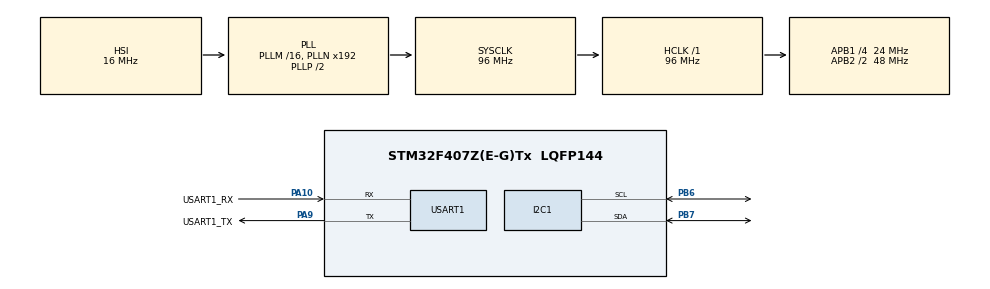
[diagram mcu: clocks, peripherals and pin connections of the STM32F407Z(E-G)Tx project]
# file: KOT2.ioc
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Dma.Request0=USART1_RX
Dma.Request1=USART1_TX
Dma.USART1_RX.0.Direction=DMA_PERIPH_TO_MEMORY
Dma.USART1_RX.0.FIFOMode=DMA_FIFOMODE_DISABLE
Dma.USART1_RX.0.Instance=DMA2_Stream2
Dma.USART1_RX.0.MemDataAlignment=DMA_MDATAALIGN_BYTE
Dma.USART1_RX.0.MemInc=DMA_MINC_ENABLE
Dma.USART1_RX.0.Mode=DMA_NORMAL
Dma.USART1_RX.0.PeriphDataAlignment=DMA_PDATAALIGN_BYTE
Dma.USART1_RX.0.PeriphInc=DMA_PINC_DISABLE
Dma.USART1_RX.0.Priority=DMA_PRIORITY_LOW
Dma.USART1_TX.1.Direction=DMA_MEMORY_TO_PERIPH
Dma.USART1_TX.1.FIFOMode=DMA_FIFOMODE_DISABLE
Dma.USART1_TX.1.Instance=DMA2_Stream7
Dma.USART1_TX.1.MemDataAlignment=DMA_MDATAALIGN_BYTE
Dma.USART1_TX.1.MemInc=DMA_MINC_ENABLE
Dma.USART1_TX.1.Mode=DMA_NORMAL
Dma.USART1_TX.1.PeriphDataAlignment=DMA_PDATAALIGN_BYTE
Dma.USART1_TX.1.PeriphInc=DMA_PINC_DISABLE
Dma.USART1_TX.1.Priority=DMA_PRIORITY_LOW
Mcu.Family=STM32F4
Mcu.Name=STM32F407Z(E-G)Tx
Mcu.Package=LQFP144
NVIC.DMA2_Stream2_IRQn=true\:0\:0\:false\:false\:true\:false\:true\:true
NVIC.DMA2_Stream7_IRQn=true\:0\:0\:false\:false\:true\:false\:true\:true
NVIC.PriorityGroup=NVIC_PRIORITYGROUP_4
NVIC.USART1_IRQn=true\:0\:0\:false\:false\:true\:true\:true\:true
PA10.GPIO_Label=USART1_RX
PA10.GPIO_Speed=GPIO_SPEED_FREQ_HIGH
PA10.Mode=Asynchronous
PA10.Signal=USART1_RX
PA9.GPIO_Label=USART1_TX
PA9.GPIO_Speed=GPIO_SPEED_FREQ_HIGH
PA9.Mode=Asynchronous
PA9.Signal=USART1_TX
PB6.Mode=I2C
PB6.Signal=I2C1_SCL
PB7.Mode=I2C
PB7.Signal=I2C1_SDA
ProjectManager.HeapSize=0x200
ProjectManager.StackSize=0x400
ProjectManager.TargetToolchain=STM32CubeIDE
RCC.AHBFreq_Value=96000000
RCC.APB1CLKDivider=RCC_HCLK_DIV4
RCC.APB1Freq_Value=24000000
RCC.APB1TimFreq_Value=48000000
RCC.APB2CLKDivider=RCC_HCLK_DIV2
RCC.APB2Freq_Value=48000000
RCC.APB2TimFreq_Value=96000000
RCC.CortexFreq_Value=96000000
RCC.HCLKFreq_Value=96000000
RCC.HSE_VALUE=25000000
RCC.HSI_VALUE=16000000
RCC.LSE_VALUE=32768
RCC.SYSCLKFreq_VALUE=96000000
RCC.SYSCLKSource=RCC_SYSCLKSOURCE_PLLCLK
RCC.VCOOutputFreq_Value=192000000
USART1.VirtualMode=VM_ASYNC
board=custom

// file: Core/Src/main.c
/* USER CODE BEGIN Header */
/**
  ******************************************************************************
  * @file           : main.c
  * @brief          : Main program body
  ******************************************************************************
  * @attention
  *
  * Copyright (c) 2024 STMicroelectronics.
  * All rights reserved.
  *
  * This software is licensed under terms that can be found in the LICENSE file
  * in the root directory of this software component.
  * If no LICENSE file comes with this software, it is provided AS-IS.
  *
  ******************************************************************************
  */
/* USER CODE END Header */
#include "main.h"

/* USER CODE BEGIN Includes */
#include "string.h"
#include "math.h"
/* USER CODE END Includes */

/* USER CODE BEGIN PD */
#define a 50//94.5
#define b 90//180
#define c 100//100
#define PI 3.1415926536

#define BUFSIZE 1
/* USER CODE END PD */

I2C_HandleTypeDef hi2c1;

UART_HandleTypeDef huart1;
DMA_HandleTypeDef hdma_usart1_rx;
DMA_HandleTypeDef hdma_usart1_tx;

/* USER CODE BEGIN PV */
uint16_t bufferUART = 1;
uint16_t rx_buff_len;
/* USER CODE END PV */

void SystemClock_Config(void);
static void MX_GPIO_Init(void);
static void MX_DMA_Init(void);
static void MX_USART1_UART_Init(void);
static void MX_I2C1_Init(void);
/* USER CODE BEGIN PFP */
//int Set_Servo_Angle(uint8_t);////////////////////////////////////////////////////////////
//void ReciveToServo(uint8_t rx_buff[1]);
void UpdatePosition(int, float);
float getTheta(int, float, float, float);
void moveTOPS(float, float, float,
              float, float, float,
              float, float, float,
              float, float, float);
void inPlace();
void stand();
/* USER CODE END PFP */

/* USER CODE BEGIN 0 */
/*I2C1------------------------------------------------------------------------*/
#define PCA9685_ADDRESS 0x80
// Datasheet link --> https://cdn-shop.adafruit.com/datasheets/PCA9685.pdf
#define PCA9685_MODE1         0x0         // as in the datasheet page no 10/52
#define PCA9685_PRE_SCALE     0xFE        // as in the datasheet page no 13/52
#define PCA9685_LED0_ON_L     0x6         // as in the datasheet page no 10/52
#define PCA9685_MODE1_SLEEP_BIT      4    // as in the datasheet page no 14/52
#define PCA9685_MODE1_AI_BIT         5    // as in the datasheet page no 14/52
#define PCA9685_MODE1_RESTART_BIT    7    // as in the datasheet page no 14/52

void PCA9685_SetBit(uint8_t Register, uint8_t Bit, uint8_t Value)
{
  uint8_t readValue;
  // Read all 8 bits and set only one bit to 0/1 and write all 8 bits back
  HAL_I2C_Mem_Read(&hi2c1, PCA9685_ADDRESS, Register, 1, &readValue, 1, 10);
  if (Value == 0) readValue &= ~(1 << Bit);
  else readValue |= (1 << Bit);
  HAL_I2C_Mem_Write(&hi2c1, PCA9685_ADDRESS, Register, 1, &readValue, 1, 10);
  HAL_Delay(1);
}

void PCA9685_SetPWMFrequency(uint16_t frequency)
{
  uint8_t prescale;
  if(frequency >= 1526) prescale = 0x03;
  else if(frequency <= 24) prescale = 0xFF;
  //  internal 25 MHz oscillator as in the datasheet page no 1/52
  else prescale = 25000000 / (4096 * frequency);
  // prescale changes 3 to 255 for 1526Hz to 24Hz as in the datasheet page no 1/52
  PCA9685_SetBit(PCA9685_MODE1, PCA9685_MODE1_SLEEP_BIT, 1);
  HAL_I2C_Mem_Write(&hi2c1, PCA9685_ADDRESS, PCA9685_PRE_SCALE, 1, &prescale, 1, 10);
  PCA9685_SetBit(PCA9685_MODE1, PCA9685_MODE1_SLEEP_BIT, 0);
  PCA9685_SetBit(PCA9685_MODE1, PCA9685_MODE1_RESTART_BIT, 1);
}

void PCA9685_Init(uint16_t frequency)
{
  PCA9685_SetPWMFrequency(frequency); // 50 Hz for servo
  PCA9685_SetBit(PCA9685_MODE1, PCA9685_MODE1_AI_BIT, 1);
}

void PCA9685_SetPWM(uint8_t Channel, uint16_t OnTime, uint16_t OffTime)
{
  uint8_t registerAddress;
  uint8_t pwm[4];
  registerAddress = PCA9685_LED0_ON_L + (4 * Channel);
  // See example 1 in the datasheet page no 18/52
  pwm[0] = OnTime & 0xFF;
  pwm[1] = OnTime>>8;
  pwm[2] = OffTime & 0xFF;
  pwm[3] = OffTime>>8;
  HAL_I2C_Mem_Write(&hi2c1, PCA9685_ADDRESS, registerAddress, 1, pwm, 4, 10);
}

void PCA9685_SetServoAngle(uint8_t Channel, float Angle)
{
  float Value;
  // 50 Hz servo then 4095 Value --> 20 milliseconds
  // 0 degree --> 0.5 ms(102.4 Value) and 180 degree --> 2.5 ms(511.9 Value)
  Value = (Angle * (511.9 - 102.4) / 180.0) + 102.4;
  PCA9685_SetPWM(Channel, 0, (uint16_t)Value);
}
/*I2C1------------------------------------------------------------------------*/

uint8_t rx_buff[1]={0};
float offset[4][3] = { { 120.0, 0, 47.449 },       //FL leg
                       { 120.0, 0, 58.851 },       //FR leg
                       { 120.0, 180, 298.149 },    //BL leg
                       { 120.0, 180, 307.388 } };  //BR leg

/////////////////////////////////// не полный буфер ///////////////////////////////////////
void HAL_UART_IDLE_Callback(UART_HandleTypeDef *huart)
{
	if(huart == &huart1)
	{
		__HAL_UART_DISABLE_IT(&huart1, UART_IT_IDLE);
		rx_buff_len = BUFSIZE - huart->RxXferCount;
		uint8_t res = HAL_UART_Transmit_IT(&huart1, (uint8_t*)rx_buff, rx_buff_len);
		if(res == HAL_ERROR) HAL_UART_Transmit(&huart1, (uint8_t*)"HAL_ERROR - rx_buff == NULL or rx_buff_len == 0\n", 48, 1000);
		else if(res == HAL_BUSY) HAL_UART_Transmit(&huart1, (uint8_t*)"HAL_BUSY\n", 9, 1000);
		HAL_UART_AbortReceive(&huart1);
		__HAL_UART_CLEAR_IDLEFLAG(&huart1);
		__HAL_UART_ENABLE_IT(&huart1, UART_IT_IDLE);
		//ReciveToServo((uint8_t*)rx_buff);////////////////////////////////////////////////////////
	}
}

/////////////////////////////////// полный буфер ///////////////////////////////////////
void HAL_UART_RxCpltCallback(UART_HandleTypeDef *huart)
{
	  if(huart == &huart1)
	  {
		  __HAL_UART_DISABLE_IT(&huart1, UART_IT_IDLE);
		  //HAL_UART_Transmit_IT(&huart1, (uint8_t*)"Full buffer\n", 12);
		  HAL_UART_AbortReceive(&huart1);
		  __HAL_UART_CLEAR_IDLEFLAG(&huart1);
		  __HAL_UART_ENABLE_IT(&huart1, UART_IT_IDLE);
		  //ReciveToServo((uint8_t*)rx_buff);////////////////////////////////////////////////////////
	  }
}

///////////////////////////////////////////////////////////////////////////////////////////////////////////////////
////////////////////////////////////////////// ErrorCallback //////////////////////////////////////////////////////
///////////////////////////////////////////////////////////////////////////////////////////////////////////////////

void HAL_UART_ErrorCallback(UART_HandleTypeDef *huart)
{
	if(huart == &huart1)
	{
		__HAL_UART_DISABLE_IT(&huart1, UART_IT_IDLE);
		uint32_t er = HAL_UART_GetError(&huart1);
		HAL_UART_Abort_IT(&huart1);

		switch(er)
		{
			case HAL_UART_ERROR_PE:
				HAL_UART_Transmit(&huart1, (uint8_t*)"ERR_Callbck - Parity error\n", 27, 1000);
				__HAL_UART_CLEAR_PEFLAG(&huart1);
				huart->ErrorCode = HAL_UART_ERROR_NONE;
			break;

			case HAL_UART_ERROR_NE:
				HAL_UART_Transmit(&huart1, (uint8_t*)"ERR_Callbck - Noise error\n", 26, 1000);
				__HAL_UART_CLEAR_NEFLAG(&huart1);
				huart->ErrorCode = HAL_UART_ERROR_NONE;
			break;

			case HAL_UART_ERROR_FE:
				HAL_UART_Transmit(&huart1, (uint8_t*)"ERR_Callbck - Frame error\n", 26, 1000);
				__HAL_UART_CLEAR_FEFLAG(&huart1);
				huart->ErrorCode = HAL_UART_ERROR_NONE;
			break;

			case HAL_UART_ERROR_ORE:
				HAL_UART_Transmit(&huart1, (uint8_t*)"ERR_Callbck - Overrun error\n", 28, 1000);
				__HAL_UART_CLEAR_OREFLAG(huart);
				huart->ErrorCode = HAL_UART_ERROR_NONE;
			break;

			case HAL_UART_ERROR_DMA:
				HAL_UART_Transmit(&huart1, (uint8_t*)"ERR_Callbck - DMA transfer error\n", 33, 1000);
				huart->ErrorCode = HAL_UART_ERROR_NONE;
			break;

			default:
			break;
		}
	}

}

float getTheta(int joint, float X, float Y, float Z)
{
	float L = 0;
	float angle = 0;

	L = pow(X, 2) + pow(Y, 2) + pow(Z, 2);
	//calculates abad, hip, or knee angle
	switch (joint)
	{
    case 0:  //abad
      angle = atan(X / Z) + acos(a / (sqrt(pow(X, 2) + pow(Z, 2))));
      break;
    case 1:  //hip
      angle = (PI / 2) - asin(-Y / sqrt(L - pow(a, 2))) - acos((pow(b, 2) - pow(a, 2) - pow(c, 2) + L) / (2 * b * sqrt(L - pow(a, 2))));
      break;
    case 2:  //knee
      angle = acos((pow(a, 2) + pow(b, 2) + pow(c, 2) - L) / (2 * b * c));
      break;
	}
	return (angle * (180 / PI));
    //converts angle to degrees and returns the value
}

//Fun. for calculation angle legs and transmit at fun. UpdatePosition
void moveTOPS(float X0, float Y0, float Z0,    //FL leg
              float X1, float Y1, float Z1,    //FR leg
              float X2, float Y2, float Z2,    //BL leg
              float X3, float Y3, float Z3)	   //BR leg
{
  float relPos = 0;                                //odrive relative position
  //X, Y, Z positions of each foot
  float pos[4][3] = { { X0, Y0, Z0 },    //FL leg
                      { X1, Y1, Z1 },    //FR leg
                      { X2, Y2, Z2 },    //BL leg
                      { X3, Y3, Z3 } };  //BR leg
  //move each actuator
  for (int i = 0; i < 4; i++)
  {                                                  //cycle through each leg (FL, FR, BL, BR)
    for (int j = 0; j < 3; j++)
    {
    	//cycle through each legs joints (abad, hip, knee)
    	relPos = getTheta(j, pos[i][0], pos[i][1], pos[i][2]);// - offset[i][j];  //calculate relative joint position and make positive
    	//relPos = fabs(relPos / 360.0 * GR) * dir[i][j];                            //converts relative joint position from degrees to counts using gear ratio
    	//odriveCAN.SetPosition(i * 3 + j, relPos);                                  //moves the actuator to its joint position (axisID, relative position)
    	//UpdatePosition(theta_abad* 180 / PI, theta_hip* 180 / PI, theta_knee* 180 / PI);
    	/*if (i > 1)
    	{
    		UpdatePosition(i * 3 + j, relPos);
    	}
    	else
    	{
    		UpdatePosition(i * 3 + j, 180 - relPos);
    	}*/
    	UpdatePosition(i * 3 + j, relPos);
    	HAL_UART_Receive_DMA(&huart1, rx_buff, 1);
    }
  }
}

//trots in place
void inPlace()
{
	int normYF = -0;//-50
	int normYB = -0;//-50//-110
	int offset = 30;//100//200
	//int offsetY = 20;//80//300
	int time = 1000;//200//160
	int normX = 50;//110
	int normZ = 150;//300
	moveTOPS(normX, normYF, normZ - offset,   //FL
			normX, normYF, normZ,                 //FR
			normX, normYB, normZ,                 //BL
			normX, normYB, normZ);  //BR
	HAL_Delay(time);
	moveTOPS(normX, normYF, normZ,                                              //FL
			normX, normYF, normZ,  //FR
			normX, normYB, normZ,                          //BL
			normX, normYB, normZ);                                             //BR
    HAL_Delay(time);
}

void step()
{
  int normYF = -0;//-50
  int normYB = -0;//-50//-110
  int offset = 30;//100//200
  int offsetY = 20;//80//300
  int time = 400;//200//160
  int normX = 50;//110
  int normZ = 150;//300

  //1 point
  moveTOPS(normX, normYF, normZ - offset/2,   //FL
           normX, normYF, normZ,                 //FR
           normX, normYB, normZ,                 //BL
           normX, normYB, normZ - offset/2);  //BR
  HAL_Delay(time);
  //2 point
  moveTOPS(normX, normYF, normZ - offset,   //FL
           normX, normYF, normZ,                 //FR
           normX, normYB, normZ,                 //BL
           normX, normYB, normZ - offset);  //BR
  HAL_Delay(time);
  //1 point
  moveTOPS(normX, normYF + offsetY/2, normZ - offset/2,                           //FL
           normX, normYF, normZ,                                                             //FR
           normX, normYB, normZ,                                                             //BL
           normX, normYB + offsetY/2, normZ - offset/2);  //BR
  HAL_Delay(time);
  //2 point
  moveTOPS(normX, normYF + offsetY, normZ - offset,                           //FL
           normX, normYF, normZ,                                                             //FR
           normX, normYB, normZ,                                                             //BL
           normX, normYB + offsetY, normZ - offset);  //BR
  HAL_Delay(time);
  //1 point
  moveTOPS(normX, normYF + offsetY/2, normZ,                           //FL
           normX, normYF, normZ,                                               //FR
           normX, normYB, normZ,                                               //BL
           normX, normYB + offsetY/2, normZ);  //BR
  HAL_Delay(time);
  //2 point
  moveTOPS(normX, normYF + offsetY, normZ,                           //FL
           normX, normYF, normZ,                                               //FR
           normX, normYB, normZ,                                               //BL
           normX, normYB + offsetY, normZ);  //BR
  HAL_Delay(time);
  //1 point
  moveTOPS(normX, normYF, normZ,                //FL
           normX, normYF, normZ - offset/2,  //FR
           normX, normYB, normZ - offset/2,  //BL
           normX, normYB, normZ);               //BR
  HAL_Delay(time);
  //2 point
  moveTOPS(normX, normYF, normZ,                //FL
           normX, normYF, normZ - offset,  //FR
           normX, normYB, normZ - offset,  //BL
           normX, normYB, normZ);               //BR
  HAL_Delay(time);
  //1 point
  moveTOPS(normX, normYF, normZ,                                                            //FL
           normX, normYF + offsetY/2, normZ - offset/2,  //FR
           normX, normYB + offsetY/2, normZ - offset/2,                          //BL
           normX, normYB, normZ);                                                           //BR
  HAL_Delay(time);
  //2 point
  moveTOPS(normX, normYF, normZ,                                                            //FL
           normX, normYF + offsetY, normZ - offset,  //FR
           normX, normYB + offsetY, normZ - offset,                          //BL
           normX, normYB, normZ);                                                           //BR
  HAL_Delay(time);
  //1 point
  moveTOPS(normX, normYF, normZ,                                              //FL
           normX, normYF + offsetY/2, normZ,  //FR
           normX, normYB + offsetY/2, normZ,                          //BL
           normX, normYB, normZ);                                             //BR
  HAL_Delay(time);
  //2 point
  moveTOPS(normX, normYF, normZ,                                              //FL
           normX, normYF + offsetY, normZ,  //FR
           normX, normYB + offsetY, normZ,                          //BL
           normX, normYB, normZ);                                             //BR
  HAL_Delay(time);
}

void stand()
{
	int normYF = 0;
	int normYB = 0;
	int normX = 50;
	int normZ = 150;
	int time = 150;
	  moveTOPS(normX, normYF, normZ,   //FL
	           normX, normYF, normZ,                 //FR
	           normX, normYB, normZ,                 //BL
	           normX, normYB, normZ);  //BR
	  HAL_Delay(time);
}

//void UpdatePosition(float theta_abad, float theta_hip, float theta_knee)
void UpdatePosition(int j, float relPos)
{
//abad плечо
//hip бедро
//knee колено
	switch(j)
	{
	//Передняя левая
	case 0:
	PCA9685_SetServoAngle(0, relPos - 20);
		///TIM2 ->CCR1 = relPos + 750 - 50;//плечо
		break;
	case 1:
	PCA9685_SetServoAngle(1, relPos + 120);
		//TIM2 ->CCR2 = relPos + 750 - 300;//бедро
		break;
	case 2:
	PCA9685_SetServoAngle(2, relPos - 30);//70
		//TIM2 ->CCR3 = relPos + 750;//колено 1300 200
		break;
	//Предняя правая
	case 3:
	PCA9685_SetServoAngle(3, relPos);
		//TIM2 ->CCR4 = relPos + 750 - 470;
		break;
	case 4:
	PCA9685_SetServoAngle(4, relPos + 20);
		//TIM3 ->CCR1 = relPos + 750 - 30;
		break;
	case 5:
	PCA9685_SetServoAngle(5, relPos + 40);
		//TIM3 ->CCR2 = relPos + 750 - 250;
		break;
	//Звдняя левая
	case 6:
	PCA9685_SetServoAngle(6, relPos - 10);
		//TIM3 ->CCR3 = relPos + 750 - 150;
		break;
	case 7:
	PCA9685_SetServoAngle(7, relPos + 70);
		//TIM3 ->CCR4 = relPos + 750 + 250;
		break;
	case 8:
	PCA9685_SetServoAngle(8, relPos - 50);
		//TIM4 ->CCR1 = relPos + 750 - 600;
		break;
	//Задняя правая
	case 9:
	PCA9685_SetServoAngle(9, relPos);
		//TIM4 ->CCR2 = relPos + 750 - 350;
		break;
	case 10:
	PCA9685_SetServoAngle(10, relPos - 20);
		//TIM4 ->CCR3 = relPos + 750 - 450;
		break;
	case 11:
	PCA9685_SetServoAngle(11, relPos);
		//TIM5 ->CCR1 = relPos + 750 + 200;
		//TIM4 ->CCR1 = relPos + 750;
		break;
	}
}
/* USER CODE END 0 */

int main(void)
{

  /* MCU Configuration--------------------------------------------------------*/

  /* Reset of all peripherals, Initializes the Flash interface and the Systick. */
  HAL_Init();

  /* Configure the system clock */
  SystemClock_Config();

  /* Initialize all configured peripherals */
  MX_GPIO_Init();
  MX_DMA_Init();
  MX_USART1_UART_Init();
  MX_I2C1_Init();
  /* USER CODE BEGIN 2 */

  /*I2C1------------------------------------------------------------------------*/
  PCA9685_Init(50); // 50Hz for servo
  /*I2C1------------------------------------------------------------------------*/

  __HAL_UART_ENABLE_IT(&huart1, UART_IT_IDLE);
  HAL_UART_Receive_DMA(&huart1, rx_buff, bufferUART);
  /* USER CODE END 2 */

  /* Infinite loop */
  /* USER CODE BEGIN WHILE */
  while (1)
  {

	  step();
	  //stand();
	  //inPlace();
    /* USER CODE END WHILE */

  }
}

void SystemClock_Config(void)
{
  RCC_OscInitTypeDef RCC_OscInitStruct = {0};
  RCC_ClkInitTypeDef RCC_ClkInitStruct = {0};

  /** Configure the main internal regulator output voltage
  */
  __HAL_RCC_PWR_CLK_ENABLE();
  __HAL_PWR_VOLTAGESCALING_CONFIG(PWR_REGULATOR_VOLTAGE_SCALE1);

  /** Initializes the RCC Oscillators according to the specified parameters
  * in the RCC_OscInitTypeDef structure.
  */
  RCC_OscInitStruct.OscillatorType = RCC_OSCILLATORTYPE_HSI;
  RCC_OscInitStruct.HSIState = RCC_HSI_ON;
  RCC_OscInitStruct.HSICalibrationValue = RCC_HSICALIBRATION_DEFAULT;
  RCC_OscInitStruct.PLL.PLLState = RCC_PLL_ON;
  RCC_OscInitStruct.PLL.PLLSource = RCC_PLLSOURCE_HSI;
  RCC_OscInitStruct.PLL.PLLM = 16;
  RCC_OscInitStruct.PLL.PLLN = 192;
  RCC_OscInitStruct.PLL.PLLP = RCC_PLLP_DIV2;
  RCC_OscInitStruct.PLL.PLLQ = 4;
  if (HAL_RCC_OscConfig(&RCC_OscInitStruct) != HAL_OK)
  {
    Error_Handler();
  }

  /** Initializes the CPU, AHB and APB buses clocks
  */
  RCC_ClkInitStruct.ClockType = RCC_CLOCKTYPE_HCLK|RCC_CLOCKTYPE_SYSCLK
                              |RCC_CLOCKTYPE_PCLK1|RCC_CLOCKTYPE_PCLK2;
  RCC_ClkInitStruct.SYSCLKSource = RCC_SYSCLKSOURCE_PLLCLK;
  RCC_ClkInitStruct.AHBCLKDivider = RCC_SYSCLK_DIV1;
  RCC_ClkInitStruct.APB1CLKDivider = RCC_HCLK_DIV4;
  RCC_ClkInitStruct.APB2CLKDivider = RCC_HCLK_DIV2;

  if (HAL_RCC_ClockConfig(&RCC_ClkInitStruct, FLASH_LATENCY_3) != HAL_OK)
  {
    Error_Handler();
  }
}

static void MX_I2C1_Init(void)
{

  hi2c1.Instance = I2C1;
  hi2c1.Init.ClockSpeed = 100000;
  hi2c1.Init.DutyCycle = I2C_DUTYCYCLE_2;
  hi2c1.Init.OwnAddress1 = 0;
  hi2c1.Init.AddressingMode = I2C_ADDRESSINGMODE_7BIT;
  hi2c1.Init.DualAddressMode = I2C_DUALADDRESS_DISABLE;
  hi2c1.Init.OwnAddress2 = 0;
  hi2c1.Init.GeneralCallMode = I2C_GENERALCALL_DISABLE;
  hi2c1.Init.NoStretchMode = I2C_NOSTRETCH_DISABLE;
  if (HAL_I2C_Init(&hi2c1) != HAL_OK)
  {
    Error_Handler();
  }

}

static void MX_USART1_UART_Init(void)
{

  huart1.Instance = USART1;
  huart1.Init.BaudRate = 115200;
  huart1.Init.WordLength = UART_WORDLENGTH_8B;
  huart1.Init.StopBits = UART_STOPBITS_1;
  huart1.Init.Parity = UART_PARITY_NONE;
  huart1.Init.Mode = UART_MODE_TX_RX;
  huart1.Init.HwFlowCtl = UART_HWCONTROL_NONE;
  huart1.Init.OverSampling = UART_OVERSAMPLING_16;
  if (HAL_UART_Init(&huart1) != HAL_OK)
  {
    Error_Handler();
  }

}

static void MX_DMA_Init(void)
{

  /* DMA controller clock enable */
  __HAL_RCC_DMA2_CLK_ENABLE();

  /* DMA interrupt init */
  /* DMA2_Stream2_IRQn interrupt configuration */
  HAL_NVIC_SetPriority(DMA2_Stream2_IRQn, 0, 0);
  HAL_NVIC_EnableIRQ(DMA2_Stream2_IRQn);
  /* DMA2_Stream7_IRQn interrupt configuration */
  HAL_NVIC_SetPriority(DMA2_Stream7_IRQn, 0, 0);
  HAL_NVIC_EnableIRQ(DMA2_Stream7_IRQn);

}

static void MX_GPIO_Init(void)
{

  /* GPIO Ports Clock Enable */
  __HAL_RCC_GPIOA_CLK_ENABLE();
  __HAL_RCC_GPIOB_CLK_ENABLE();
  __HAL_RCC_GPIOD_CLK_ENABLE();

}

/* USER CODE BEGIN 4 */
/*void HAL_UART_RxCpltCallback(UART_HandleTypeDef *huart)//////////////////////////////////////////////////////////////////
{
  HAL_UART_Receive_DMA(&huart1, rx_buff, bufferUART); //You need to toggle a breakpoint on this line!
}*/
/* USER CODE END 4 */

void Error_Handler(void)
{
  __disable_irq();
  while (1)
  {
  }
}
